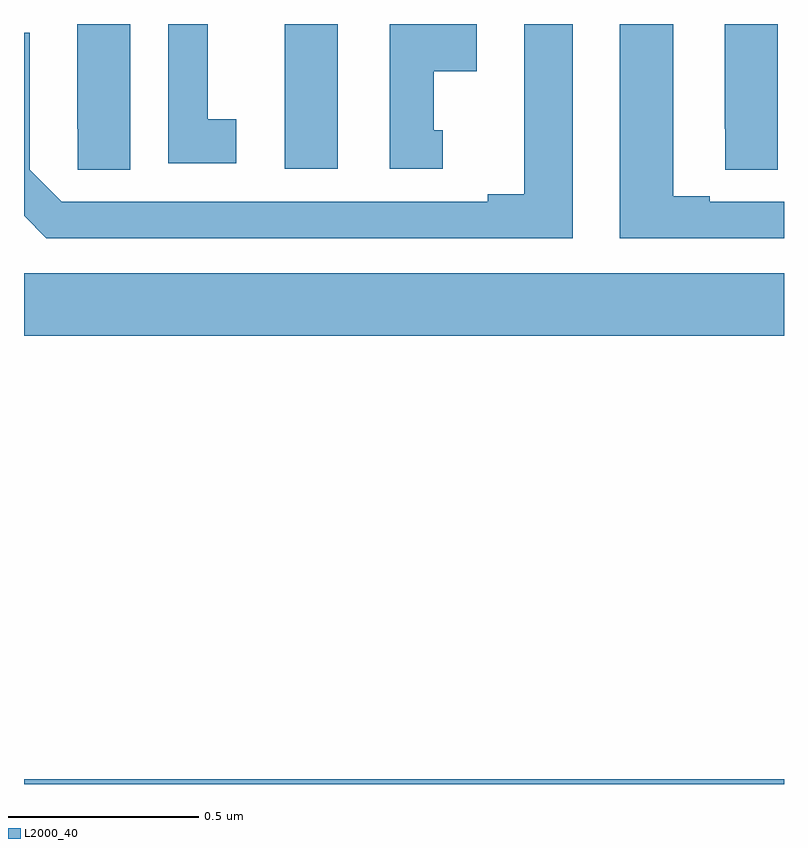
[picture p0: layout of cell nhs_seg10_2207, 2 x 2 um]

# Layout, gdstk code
import gdstk
lib = gdstk.Library(unit=1e-6, precision=1e-09)
def R(c, l, rs):  # rectangles x0, y0, x1, y1
    for r in rs: c.add(gdstk.rectangle(r[:2], r[2:], *l))
def P(c, l, *ps):  # polygons
    for p in ps: c.add(gdstk.Polygon(p, *l))
L2000_40 = (2000, 40)

nhs_seg10_2207 = lib.new_cell('nhs_seg10_2207')
R(nhs_seg10_2207, L2000_40, [(138,1268.5,140,1268.512), (138,1269.68,140,1269.844), (138.686,1270.119,138.826,1270.5)])
P(nhs_seg10_2207, L2000_40, [(139.102,1270.221),(139.078,1270.221),(139.078,1270.376),(139.192,1270.376),(139.192,1270.5),(138.962,1270.5),(138.962,1270.119),(139.102,1270.119)],
  [(140,1270.032),(139.804,1270.032),(139.804,1270.047),(139.708,1270.047),(139.708,1270.5),(139.568,1270.5),(139.568,1269.936),(140,1269.936)],
  [(139.984,1270.5),(139.844,1270.5),(139.844,1270.225),(139.845,1270.225),(139.845,1270.117),(139.984,1270.117)],
  [(139.444,1270.5),(139.316,1270.5),(139.316,1270.052),(139.22,1270.052),(139.22,1270.032),(138.099,1270.032),(138.015,1270.116),(138.015,1270.477),(138,1270.477),(138,1269.995),(138.059,1269.936),(139.444,1269.936)],
  [(138.28,1270.5),(138.14,1270.5),(138.14,1270.225),(138.141,1270.225),(138.141,1270.117),(138.28,1270.117)],
  [(138.559,1270.25),(138.484,1270.25),(138.484,1270.5),(138.38,1270.5),(138.38,1270.134),(138.559,1270.134)])

lib.write_gds('nhs_seg10_2207.gds')
